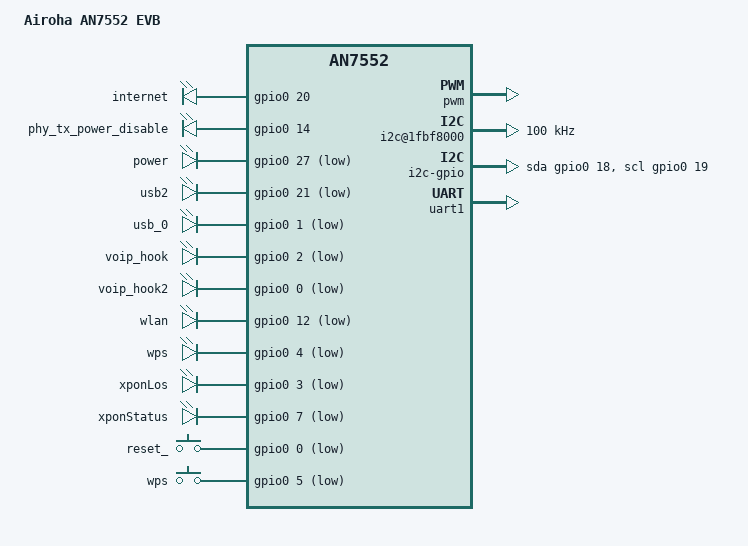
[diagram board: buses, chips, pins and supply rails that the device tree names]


#include <dt-bindings/interrupt-controller/irq.h>
#include <dt-bindings/interrupt-controller/arm-gic.h>
#include <dt-bindings/gpio/gpio.h>
#include <dt-bindings/input/input.h>
#include <dt-bindings/thermal/thermal.h>

/dts-v1/;
#include "en7552.dtsi"
/ {
	model = "Airoha AN7552 EVB";
	compatible = "airoha,an7552-evb", "econet,en7523", "airoha,en7523", "econet,en7552", "airoha,an7552";
	#address-cells = <1>;
	#size-cells = <1>;

	gpio0: gpio@1fbf0200 {
		compatible = "airoha,airoha-gpio";
		gpio_base = <0>;
		reg = <0x1fbf0204 0x4>,
		      <0x1fbf0200 0x4>,
		      <0x1fbf0220 0x4>,
		      <0x1fbf0214 0x4>;
		gpio-controller;
		#gpio-cells = <2>;
	};

	gpio1: gpio@1fbf0270 {
		compatible = "airoha,airoha-gpio";
		gpio_base = <32>;
		reg = <0x1fbf0270 0x4>,
		      <0x1fbf0260 0x4>,
		      <0x1fbf0264 0x4>,
		      <0x1fbf0278 0x4>;
		gpio-controller;
		#gpio-cells = <2>;
	};
	
	pwm: pwm@1fbf0234{
		compatible = "airoha,airoha-pwm";
		reg = <0x1fbf0234 0x20>,
		      <0x1fbf0268 0x4>,
		      <0x1fbf0298 0x24>;
	};

	leds {
		compatible = "gpio-leds";

		internet {
			label = "internet";
			gpios = <&gpio0 20 GPIO_ACTIVE_HIGH>;
			linux,default-trigger = "timer";
		};
		phy_tx_power_disable {
			label = "phy_tx_power_disable";
			gpios = <&gpio0 14 GPIO_ACTIVE_HIGH>;
			linux,default-trigger = "dsldev";
			default-state = "on";
		};
		power {
			label = "power";
			gpios = <&gpio0 27 GPIO_ACTIVE_LOW>;
			linux,default-trigger = "timer";
		};
		usb2 {
			label = "usb2";
			gpios = <&gpio0 21 GPIO_ACTIVE_LOW>;
			trigger-sources = <&xhci_hcd>;
			linux,default-trigger = "usbport";
		};
		usb_0 {
			label = "usb_0";
			gpios = <&gpio0 1 GPIO_ACTIVE_LOW>;
			linux,default-trigger = "usbport";
		};
		voip_hook {
			label = "voip_hook";
			gpios = <&gpio0 2 GPIO_ACTIVE_LOW>;
			linux,default-trigger = "timer";
		};
		voip_hook2 {
			label = "voip_hook2";
			gpios = <&gpio0 0 GPIO_ACTIVE_LOW>;
			linux,default-trigger = "timer";
		};
		wlan {
			label = "wlan";
			gpios = <&gpio0 12 GPIO_ACTIVE_LOW>;
			linux,default-trigger = "timer";
		};
		wps {
			label = "wps";
			gpios = <&gpio0 4 GPIO_ACTIVE_LOW>;
			linux,default-trigger = "timer";
		};
		xponLos {
			label = "xponLos";
			gpios = <&gpio0 3 GPIO_ACTIVE_LOW>;
			linux,default-trigger = "timer";
		};
		
		xponStatus {
			label = "xponStatus";
			gpios = <&gpio0 7 GPIO_ACTIVE_LOW>;
			linux,default-trigger = "timer";
		};
	};
	
	gpio-keys-polled {
		compatible = "gpio-keys-polled";
		poll-interval = <100>;
		
		reset_ {
			label = "reset_";
			linux,code = <BTN_0>;
			gpios = <&gpio0 0 GPIO_ACTIVE_LOW>;
		};
		
		wps {
			label = "wps";
			linux,code = <KEY_WPS_BUTTON>;
			gpios = <&gpio0 5 GPIO_ACTIVE_LOW>;
		};
	};

	partitions {
		compatible = "fixed-partitions";
		#address-cells = <1>;
		#size-cells = <1>;

		bootloader@0 {
			label = "bootloader";
			reg = <0x00000000 0x00080000>;
		};
		u-boot-env@80000 {
			label = "u-boot-env";
			reg = <0x00080000 0x00080000>;
		};
		factory@100000 {
			label = "Factory";
			reg = <0x00100000 0x00400000>;
		};
		tclinux@500000 {
			label = "tclinux";
			reg = <0x00500000 0x02800000>;
		};
		tclinux_slave@2D00000 {
			label = "tclinux_slave";
			reg = <0x02D00000 0x02800000>;
		};		
		rootfs_data@5500000 {
			label = "rootfs_data";
			reg = <0x05500000 0x00800000>;
		};
		art@de80000 {
			label = "art";
			//art is located in flash end. if reg offset != ffffffff, it represents the actual offset
			//else offset = flash_logic_size-reg_size(drivers/mtd/maps/tc3162-flash.c)
			reg = <0xffffffff 0x00380000>;
		};
	};
	i2c@1fbf8000 {
		compatible = "airoha,airoha-i2c";
		reg = <0x1fbf8000 0x65>;
		clock-frequency = <100000>;
	};
	i2c-gpio {
		compatible = "i2c-gpio";
		sda-gpios = <&gpio0 18 GPIO_ACTIVE_HIGH>;
		scl-gpios = <&gpio0 19 GPIO_ACTIVE_HIGH>;
		i2c-gpio,delay-us = <2>;
		#address-cells = <0>;
		#size-cells = <0>;
	};
	airoha-trng@1faa1000 {
		compatible = "airoha,airoha-trng";
		reg = <0x1faa1000 0xc04>;
		interrupts = <GIC_SPI 35 IRQ_TYPE_LEVEL_HIGH>;
	};
	thermal-zones {
		cpu_thermal: cpu-thermal {
			polling-delay-passive = <200>;
			polling-delay = <1000>;
			thermal-sensors = <&thermal_phy 0>;
			trips {
				cpu_passive: cpu-passive {
					temperature = <125000>;
					hysteresis = <0>;
					type = "passive";
				};
			};
			cooling-maps {
				map0 {
					trip = <&cpu_passive>;
					cooling-device = <&cpu0 THERMAL_NO_LIMIT THERMAL_NO_LIMIT>,
							 <&cpu1 THERMAL_NO_LIMIT THERMAL_NO_LIMIT>;
				};
			};
		};
	};
	thermal_phy: thermal_phy@1efbd000 {
		#thermal-sensor-cells = <0>;
		compatible = "airoha,en7552-thermal_phy";
		reg = <0x1efbd000 0x0fff>; //ptp_thermal_ctrl
		int_name = "ptp_therm";
	};
	uart1: serial@1fbf0000 {
		compatible = "ns8250";
		reg = <0x1fbf0000 0x30>;
		reg-io-width = <4>;
		reg-shift = <2>;
		interrupts = <GIC_SPI 18 IRQ_TYPE_LEVEL_HIGH>;
		clock-frequency = <1843200>;
		status = "okay";
	};
	crypto_eip93@1fb70000 {
		compatible = "airoha,airoha-eip93";
		reg = <0x1fb70000 0x804>;
		interrupts = <GIC_SPI 44 IRQ_TYPE_LEVEL_HIGH>;
	};

};
